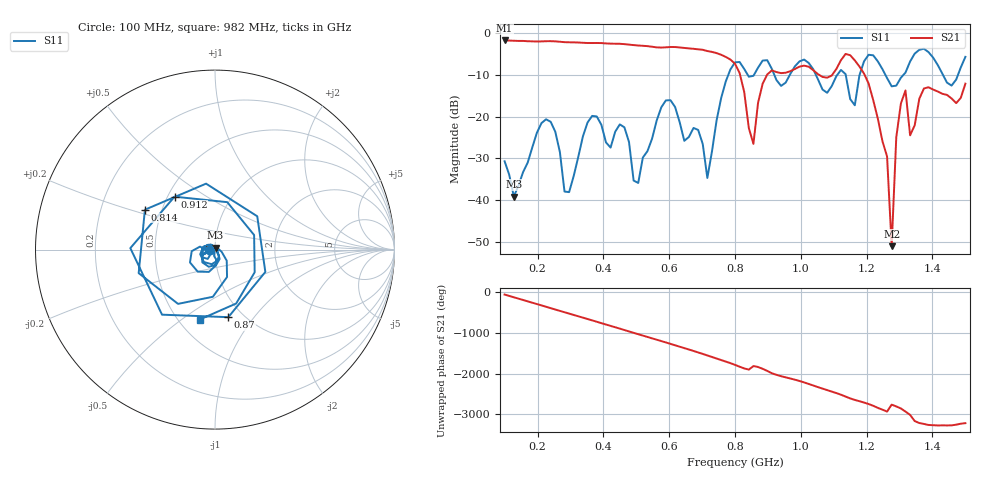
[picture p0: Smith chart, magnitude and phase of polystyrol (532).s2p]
! NanoVNA-App
! Date: 2025-09-25 15:34:01
! Start: 100MHz Stop: 1,5GHz Points: 101
! S-Parameter data: F S11 S21 S12 S22
# Hz S RI R 50
!  Frequency  S11_Real  S11_Imag  S21_Real  S21_Imag  S12_Real  S12_Imag  S22_Real  S22_Imag
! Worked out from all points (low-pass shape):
!   101 points, 100 MHz to 1.5 GHz, reference 50 ohm
!   highest |S21| = -1.80 dB at 100 MHz (marker M1); lowest = -51.0 dB at 1.276 GHz (marker M2)
!   |S21| within 3 dB of the highest: start of sweep to 742.9 MHz
!   lowest |S11| = -39.1 dB at 128 MHz (marker M3), VSWR 1.02, Z = 50.3 + j1.06 ohm
!   |S11| at or under -10 dB: start of sweep to 779.8 MHz; 1.046 GHz to 1.111 GHz (65.56 MHz wide, 6.08 % of centre); 1.257 GHz to 1.312 GHz (55.39 MHz wide, 4.31 % of centre) (the widest 3 of 7)
!   S12 and S22 are empty: the file has one direction only
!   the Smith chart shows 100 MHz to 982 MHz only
!   S11 on the Smith chart (normalised r, x): 100 MHz: 0.94, -0.01; 814 MHz: 0.40, +0.22; 870 MHz: 0.85, -0.75; 912 MHz: 0.54, +0.37; 982 MHz: 0.63, -0.59
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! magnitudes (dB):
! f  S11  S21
! 100 MHz  -30.7  -1.8
! 128 MHz  -39.1  -1.9
! 212 MHz  -21.6  -2.0
! 282 MHz  -37.9  -2.2
! 338 MHz  -24.7  -2.4
! 506 MHz  -35.9  -3.0
! 576 MHz  -17.8  -3.5
! 716 MHz  -34.7  -4.3
! 800 MHz  -7.0  -7.4
! 814 MHz  -6.9  -9.6
! 856 MHz  -10.3  -26.5
! 870 MHz  -8.3  -16.7
! 912 MHz  -8.6  -9.0
! 982 MHz  -8.0  -8.6
! 1.038 GHz  -8.7  -8.9
! 1.164 GHz  -17.3  -6.6
! 1.206 GHz  -5.2  -12.1
! 1.262 GHz  -10.8  -29.5
! 1.276 GHz  -12.8  -51.0
! 1.29 GHz  -12.6  -25.0
! 1.318 GHz  -9.5  -13.8
! 1.5 GHz  -5.7  -12.1
